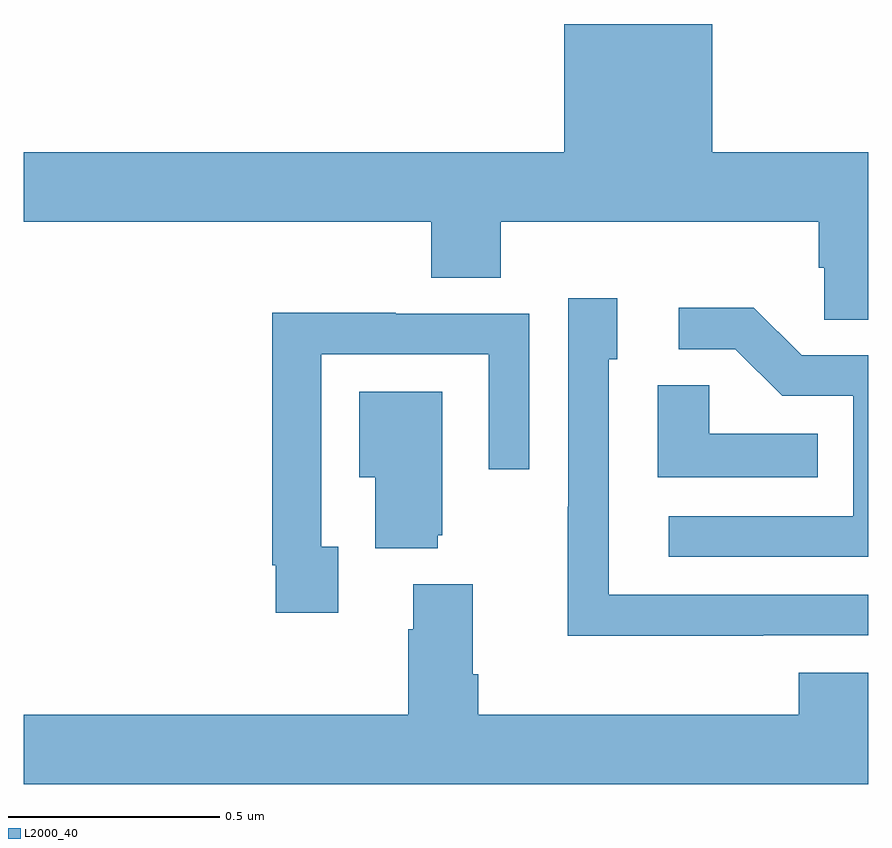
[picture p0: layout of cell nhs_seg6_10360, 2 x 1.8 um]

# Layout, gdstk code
import gdstk
lib = gdstk.Library(unit=1e-6, precision=1e-09)
def P(c, l, *ps):  # polygons
    for p in ps: c.add(gdstk.Polygon(p, *l))
L2000_40 = (2000, 40)

nhs_seg6_10360 = lib.new_cell('nhs_seg6_10360')
P(nhs_seg6_10360, L2000_40, [(248,918.196),(247.63,918.196),(247.63,918.5),(247.28,918.5),(247.28,918.196),(246,918.196),(246,918.032),(246.965,918.032),(246.965,917.899),(247.13,917.899),(247.13,918.032),(247.883,918.032),(247.883,917.923),(247.896,917.923),(247.896,917.8),(248,917.8)],
  [(247.751,917.052),(248,917.052),(248,917.148),(247.386,917.148),(247.386,917.706),(247.405,917.706),(247.405,917.851),(247.29,917.851),(247.29,917.357),(247.288,917.357),(247.288,917.051),(247.751,917.051)],
  [(248,917.715),(247.842,917.715),(247.729,917.828),(247.551,917.828),(247.551,917.73),(247.685,917.73),(247.796,917.619),(247.965,917.619),(247.965,917.334),(247.527,917.334),(247.527,917.238),(248,917.238)],
  [(246.745,917.262),(246.705,917.262),(246.705,917.718),(247.101,917.718),(247.101,917.445),(247.197,917.445),(247.197,917.814),(246.881,917.814),(246.881,917.816),(246.589,917.816),(246.589,917.218),(246.597,917.218),(246.597,917.106),(246.745,917.106)],
  [(247.88,917.53),(247.623,917.53),(247.623,917.645),(247.502,917.645),(247.502,917.426),(247.88,917.426)],
  [(246.98,917.289),(246.991,917.289),(246.991,917.629),(246.794,917.629),(246.794,917.426),(246.833,917.426),(246.833,917.258),(246.98,917.258)],
  [(248,916.963),(247.835,916.963),(247.835,916.864),(247.076,916.864),(247.076,916.96),(247.063,916.96),(247.063,917.173),(246.923,917.173),(246.923,917.066),(246.911,917.066),(246.911,916.864),(246,916.864),(246,916.7),(248,916.7)])

lib.write_gds('nhs_seg6_10360.gds')
